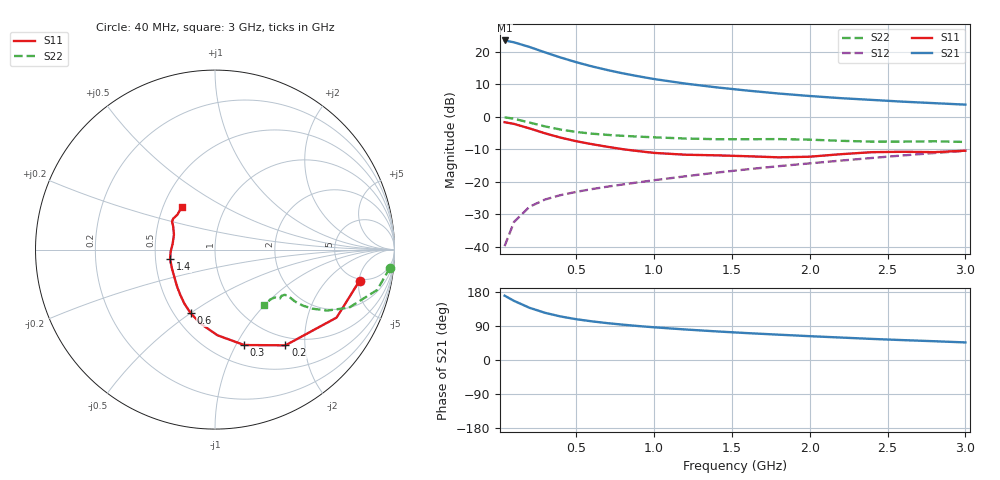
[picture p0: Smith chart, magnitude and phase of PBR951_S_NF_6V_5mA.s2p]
! Filename:  PBR951M.S2P  Version:  3.0
! Philips part #:  PBR951  Date: July 1998
! Bias condition:  Vce=6V, Ic=5.0mA
#  MHz  S  MA  R 50
! Freq  S11  S21  S12  S22
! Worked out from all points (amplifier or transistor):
!   21 points, 40 MHz to 3 GHz, reference 50 ohm
!   highest |S21| = 23.4 dB at 40 MHz (marker M1)
!   |S21| within 3 dB of that: start of sweep to 260.3 MHz
!   unconditionally stable (mu >= 1): 1.135 GHz to 2.43 GHz
!   at 300 MHz: K = 0.47, MSG = 22.6 dB, |S12| = -25.4 dB
!   at 1 GHz: K = 0.97, MSG = 15.5 dB, |S12| = -19.5 dB
!   at 3 GHz: K = 0.96, MSG = 7.1 dB, |S12| = -10.5 dB
!   lowest NFmin = 1.12 dB at 500 MHz
!   S11 on the Smith chart (normalised r, x): 40 MHz: 4.75, -5.11; 200 MHz: 0.86, -1.63; 300 MHz: 0.70, -1.08; 600 MHz: 0.60, -0.50; 1.4 GHz: 0.60, -0.07; 3 GHz: 0.62, +0.32
40  0.824 -12.1  14.81 169.8  0.01031 83.7  0.9802 -6.0
100  0.7761 -29.2  13.87 156.1  0.02419 75.5  0.9309 -14.0
200  0.6622 -53.6  11.76 137.8  0.04156 66.0  0.8137 -23.4
300  0.556 -73.0  9.724 124.5  0.05369 61.2  0.7102 -28.6
400  0.4776 -88.3  8.105 114.9  0.0627 59.5  0.6355 -31.2
500  0.4209 -100.8  6.87 107.6  0.07024 59.5  0.5841 -32.4
600  0.3797 -110.9  5.934 102.0  0.07743 60.4  0.5498 -32.9
700  0.3459 -119.6  5.211 97.3  0.08446 61.7  0.5264 -32.9
800  0.3175 -127.6  4.631 93.2  0.09132 63.0  0.5093 -32.7
900  0.2964 -135.2  4.173 89.6  0.09858 64.3  0.4951 -32.5
1000  0.2786 -142.9  3.791 86.3  0.106 65.4  0.4831 -32.3
1200  0.2613 -157.2  3.228 80.6  0.1218 67.4  0.4631 -32.9
1400  0.2556 -168.3  2.826 75.5  0.1386 68.9  0.4521 -34.6
1600  0.2475 -177.1  2.519 70.9  0.156 70.4  0.4518 -36.2
1800  0.2382 172.3  2.272 66.8  0.1742 71.3  0.4536 -36.9
2000  0.2434 160.0  2.08 62.9  0.1924 71.8  0.4448 -37.1
2200  0.2662 151.1  1.927 59.2  0.2122 71.9  0.4269 -38.6
2400  0.2857 146.8  1.812 55.6  0.2329 71.9  0.4146 -42.1
2600  0.2899 143.7  1.702 52.4  0.2548 71.8  0.415 -46.2
2800  0.286 136.9  1.616 49.5  0.2773 71.3  0.4195 -48.3
3000  0.3012 128.1  1.534 46.4  0.2993 70.6  0.4102 -48.6
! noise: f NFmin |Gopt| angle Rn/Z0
500  1.117  0.297  27.42  0.185
800  1.157  0.253  63.26  0.204
900  1.196  0.283  67.97  0.185
1000  1.254  0.261  70.36  0.194
1500  1.591  0.293  126.3  0.116
2000  2.148  0.325  -156.9  0.124
